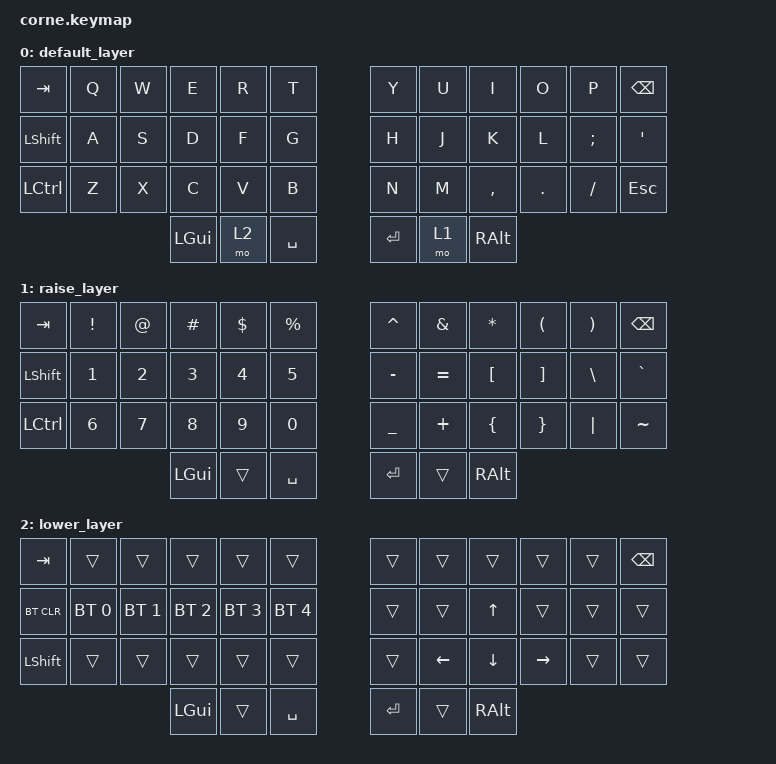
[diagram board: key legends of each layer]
/*
 * Copyright (c) 2020 The ZMK Contributors
 *
 * SPDX-License-Identifier: MIT
 */

#include <behaviors.dtsi>
#include <dt-bindings/zmk/bt.h>
#include <dt-bindings/zmk/keys.h>

/ {
    combos {
        compatible = "zmk,combos";

        combo_workspace_1 {
            bindings = <&kp LG(NUMBER_1)>;
            key-positions = <36 13>;
        };

        combo_workspace_2 {
            bindings = <&kp LG(N2)>;
            key-positions = <14 36>;
        };

        combo_workspace_3 {
            bindings = <&kp LG(N3)>;
            key-positions = <36 15>;
        };

        combo_workspace_4 {
            bindings = <&kp LG(N4)>;
            key-positions = <36 16>;
        };

        combo_workspace_5 {
            bindings = <&kp LG(N5)>;
            key-positions = <36 17>;
        };

        combo_workspace_6 {
            bindings = <&kp LG(N6)>;
            key-positions = <36 25>;
        };

        combo_workspace_7 {
            bindings = <&kp LG(N7)>;
            key-positions = <36 26>;
        };

        combo_workspace_8 {
            bindings = <&kp LG(N8)>;
            key-positions = <36 27>;
        };

        combo_workspace_9 {
            bindings = <&kp LG(N9)>;
            key-positions = <36 28>;
        };

        combo_workspace_0 {
            bindings = <&kp LG(N0)>;
            key-positions = <36 29>;
        };
    };

    keymap {
        compatible = "zmk,keymap";

        default_layer {
            // -----------------------------------------------------------------------------------------
            // | TAB  |  Q  |  W  |  E  |  R  |  T  |   |  Y  |  U   |  I  |  O  |  P  | BSPC |
            // | SHFT |  A  |  S  |  D  |  F  |  G  |   |  H  |  J   |  K  |  L  |  ;  |  '   |
            // | CTRL |  Z  |  X  |  C  |  V  |  B  |   |  N  |  M   |  ,  |  .  |  /  | ESC  |
            //                    | GUI | LWR | SPC |   | ENT | RSE  | ALT |

            bindings = <
&kp TAB    &kp Q  &kp W  &kp E     &kp R  &kp T        &kp Y    &kp U  &kp I      &kp O    &kp P     &kp BSPC
&kp LSHFT  &kp A  &kp S  &kp D     &kp F  &kp G        &kp H    &kp J  &kp K      &kp L    &kp SEMI  &kp SQT
&kp LCTRL  &kp Z  &kp X  &kp C     &kp V  &kp B        &kp N    &kp M  &kp COMMA  &kp DOT  &kp FSLH  &kp ESC
                         &kp LGUI  &mo 2  &kp SPACE    &kp RET  &mo 1  &kp RALT
            >;
        };

        raise_layer {
            // -----------------------------------------------------------------------------------------
            // |  TAB |  !  |  @  |  #  |  $  |  %  |   |  ^  |  &  |  *  |  (  |  )  | BSPC |
            // | CTRL |     |     |     |     |     |   |  -  |  =  |  [  |  ]  |  \  |  `   |
            // | SHFT |     |     |     |     |     |   |  _  |  +  |  {  |  }  | "|" |  ~   |
            //                    | GUI |     | SPC |   | ENT |     | ALT |

            bindings = <
&kp TAB     &kp EXCL  &kp AT  &kp HASH  &kp DLLR      &kp PRCNT    &kp CARET  &kp AMPS   &kp ASTRK  &kp LPAR  &kp RPAR  &kp BSPC
&kp LSHIFT  &kp N1    &kp N2  &kp N3    &kp NUMBER_4  &kp N5       &kp MINUS  &kp EQUAL  &kp LBKT   &kp RBKT  &kp BSLH  &kp GRAVE
&kp LCTRL   &kp N6    &kp N7  &kp N8    &kp N9        &kp N0       &kp UNDER  &kp PLUS   &kp LBRC   &kp RBRC  &kp PIPE  &kp TILDE
                              &kp LGUI  &trans        &kp SPACE    &kp RET    &trans     &kp RALT
            >;
        };

        lower_layer {
            // -----------------------------------------------------------------------------------------
            // | TAB  |  1  |  2  |  3  |  4  |  5  |   |  6  |  7  |  8  |  9  |  0  | BSPC |
            // | BTCLR| BT1 | BT2 | BT3 | BT4 | BT5 |   | LFT | DWN |  UP | RGT |     |      |
            // | SHFT |     |     |     |     |     |   |     |     |     |     |     |      |
            //                    | GUI |     | SPC |   | ENT |     | ALT |

            bindings = <
&kp TAB     &trans        &trans        &trans        &trans        &trans          &trans   &trans          &trans    &trans     &trans  &kp BSPC
&bt BT_CLR  &bt BT_SEL 0  &bt BT_SEL 1  &bt BT_SEL 2  &bt BT_SEL 3  &bt BT_SEL 4    &trans   &trans          &kp UP    &trans     &trans  &trans
&kp LSHFT   &trans        &trans        &trans        &trans        &trans          &trans   &kp LEFT_ARROW  &kp DOWN  &kp RIGHT  &trans  &trans
                                        &kp LGUI      &trans        &kp SPACE       &kp RET  &trans          &kp RALT
            >;
        };
    };
};
